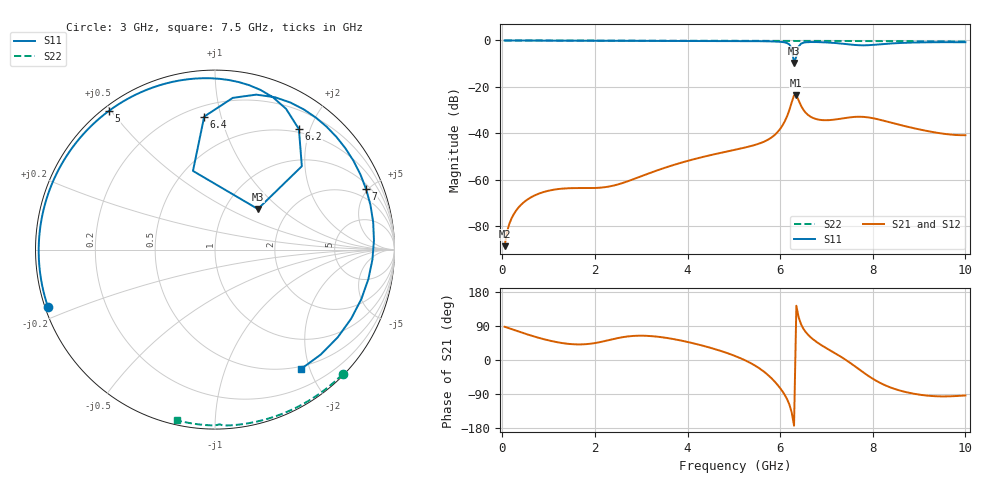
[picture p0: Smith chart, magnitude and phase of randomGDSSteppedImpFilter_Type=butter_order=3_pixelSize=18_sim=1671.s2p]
! freq	dB(S11)	phase(S11)	dB(S12)	phase(S12)
!  dB(S21)	phase(S21)	dB(S22)	phase(S22)
!S-par simulation data
#  GHz  S  DB  R 50
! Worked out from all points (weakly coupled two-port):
!   200 points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, 50 MHz to 10 GHz, reference 50 ohm
!   highest |S21| = -23.54 dB at 6.35 GHz (marker M1); lowest = -88.5 dB at 50 MHz (marker M2)
!   lowest |S11| = -9.7 dB at 6.3 GHz (marker M3), VSWR 1.98, Z = 70.7 + j35.9 ohm
!   |S11| at or under -10 dB: nowhere
!   |S22| runs from -0.4 to 0.0 dB; largest |S21 - S12| = 0
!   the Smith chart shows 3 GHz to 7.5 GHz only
!   S11 on the Smith chart (normalised r, x): 3 GHz: 0.01, -0.17; 5 GHz: 0.02, +0.50; 6.2 GHz: 0.45, +1.83; 6.4 GHz: 0.27, +0.89; 7 GHz: 1.29, +4.88; 7.5 GHz: 0.46, -1.86
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0.05  -0.00 -3.6  -88.47 87.8  -88.47 87.8  -0.00 -0.8
0.45  -0.04 -31.6  -69.84 71.1  -69.84 71.1  -0.01 -6.8
0.9  -0.07 -61.1  -65.14 54.8  -65.14 54.8  -0.02 -13.6
1.75  -0.11 -108.2  -63.50 41.4  -63.50 41.4  -0.03 -26.2
3  -0.14 -161.0  -58.40 64.2  -58.40 64.2  -0.06 -44.3
3.4  -0.15 -175.5  -55.50 60.8  -55.50 60.8  -0.07 -50.0
5  -0.24 127.3  -47.12 11.8  -47.12 11.8  -0.11 -71.6
5.05  -0.24 125.3  -46.90 9.4  -46.90 9.4  -0.11 -72.3
5.8  -0.40 91.3  -41.91 -46.6  -41.91 -46.6  -0.14 -82.0
6.2  -1.75 55.1  -29.85 -117.7  -29.85 -117.7  -0.17 -87.2
6.3  -9.66 43.4  -23.62 -173.3  -23.62 -173.3  -0.23 -88.4
6.35  -6.84 105.6  -23.54 143.1  -23.54 143.1  -0.23 -88.7
6.4  -2.57 94.6  -25.82 112.6  -25.82 112.6  -0.20 -89.2
6.7  -0.67 52.7  -33.25 55.6  -33.25 55.6  -0.18 -93.0
7  -0.85 21.7  -34.30 31.0  -34.30 31.0  -0.20 -96.7
7.25  -1.21 -10.9  -33.84 13.2  -33.84 13.2  -0.21 -99.7
7.5  -1.72 -54.5  -33.09 -6.6  -33.09 -6.6  -0.23 -102.7
7.7  -2.05 -97.3  -32.80 -24.2  -32.80 -24.2  -0.24 -105.1
7.95  -1.99 -152.0  -33.24 -45.6  -33.24 -45.6  -0.26 -108.0
8.35  -1.36 142.4  -35.11 -71.0  -35.11 -71.0  -0.29 -112.7
9  -0.84 81.4  -38.24 -91.3  -38.24 -91.3  -0.34 -120.1
10  -0.77 23.1  -40.75 -93.6  -40.75 -93.6  -0.44 -131.4
